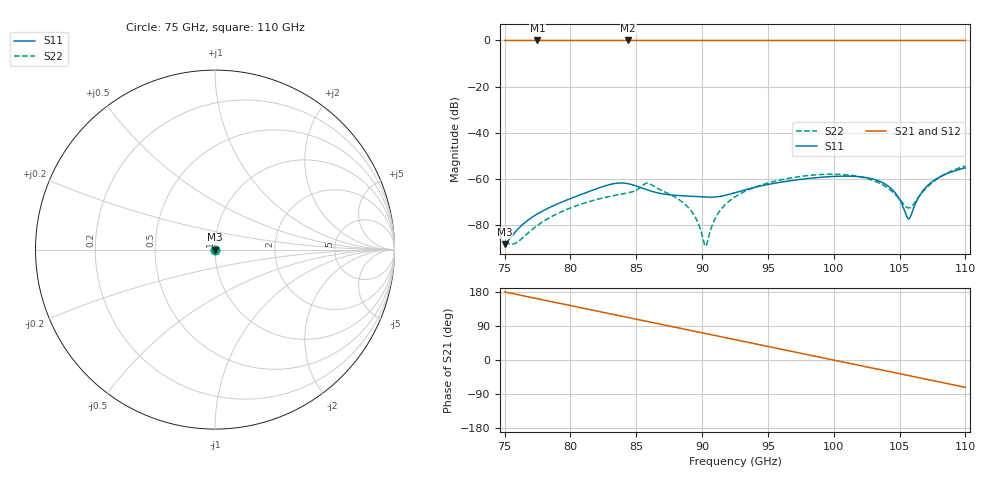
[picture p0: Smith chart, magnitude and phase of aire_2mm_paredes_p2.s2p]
! TOUCHSTONE file generated by CST MICROWAVE STUDIO
! Date and time: Tue Feb 13 14:14:40 2024
! Project name: aire_pared.cst
! Header version: 2018
! Port assignment regex: !\s*Touchstone port\s*([0-9]+)\s*=\s*(CST MWS port|CST DS port)\s*([0-9]+|Zmin|Zmax)\s*\(\"(.*)\"\)(\s*mode\s*([0-9]+))?.*
! Touchstone port assignment:
! Touchstone port 1 = CST MWS port 1 ("")
! Touchstone port 2 = CST MWS port 2 ("")
# GHz S MA R 376.7
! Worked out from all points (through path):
!   1001 points, 75 GHz to 110 GHz, reference 376.7 ohm
!   highest |S21| = 0.00 dB at 77.48 GHz (marker M1); lowest = 0.0 dB at 84.38 GHz (marker M2)
!   group delay of S21, straight-line fit = 20 ps
!   lowest |S11| = -88.3 dB at 75 GHz (marker M3), VSWR 1.00, Z = 377 + j0.0204 ohm
!   |S11| at or under -10 dB: start of sweep to end of sweep
!   |S22| runs from -89.1 to -54.4 dB; largest |S21 - S12| = 0.00099
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75  3.825e-05 45.0  1 179.7  1 179.7  4.445e-05 68.6
76.26  9.689e-05 91.3  1 170.6  1 170.6  4.992e-05 -1.4
77.485  0.000175 98.8  1 161.8  0.9999 161.8  9.838e-05 -31.2
80.845  0.0004663 102.2  1 137.6  0.9999 137.6  0.0002881 -58.0
83.12  0.0007754 114.9  1 121.2  1 121.2  0.000428 -75.5
84.38  0.0007905 130.3  0.9998 112.1  1 112.1  0.0005012 -90.8
85.815  0.0005837 130.3  1 101.8  1 101.8  0.0008165 -99.1
86.69  0.0004963 117.5  1 95.5  1 95.5  0.0006088 -92.5
88.615  0.0004315 70.0  1 81.6  1 81.6  0.0002984 -113.3
89.945  0.0004093 21.1  1 72.1  1 72.1  6.931e-05 -103.3
90.715  0.0004038 -15.4  1 66.5  1 66.5  9.086e-05 17.2
91.52  0.0004279 -55.8  1 60.7  1 60.7  0.0002356 25.9
92.5  0.0005053 -97.9  0.9999 53.7  1 53.7  0.0004107 24.4
94.95  0.0007572 -157.5  0.9999 36.1  1 36.1  0.0008117 20.2
98.345  0.001046 164.0  1 11.7  1 11.7  0.001213 22.1
101.81  0.00113 129.8  1 -13.2  1 -13.3  0.001142 30.9
104.19  0.0006822 91.0  1 -30.4  1 -30.4  0.0006115 44.6
104.855  0.0004239 72.2  1 -35.1  1 -35.1  0.0004076 57.2
105.695  0.000137 -14.4  1 -41.2  1 -41.2  0.0002361 111.3
106.535  0.0004463 -99.5  1 -47.2  1 -47.2  0.0004366 167.0
107.235  0.0007682 -117.2  1 -52.2  1 -52.2  0.0007281 179.1
110  0.001746 -149.5  1 -72.1  1 -72.1  0.001914 -179.1
